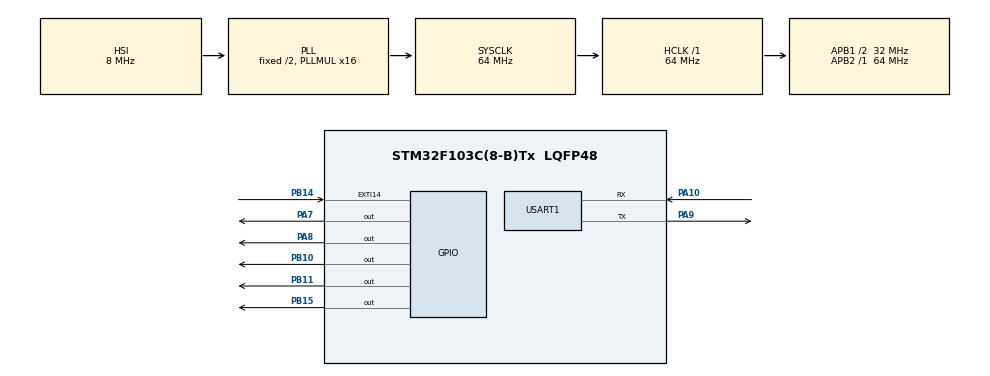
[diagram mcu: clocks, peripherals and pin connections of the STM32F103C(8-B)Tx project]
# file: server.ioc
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Dma.Request0=USART1_RX
Dma.USART1_RX.0.Direction=DMA_PERIPH_TO_MEMORY
Dma.USART1_RX.0.Instance=DMA1_Channel5
Dma.USART1_RX.0.MemDataAlignment=DMA_MDATAALIGN_BYTE
Dma.USART1_RX.0.MemInc=DMA_MINC_ENABLE
Dma.USART1_RX.0.Mode=DMA_NORMAL
Dma.USART1_RX.0.PeriphDataAlignment=DMA_PDATAALIGN_BYTE
Dma.USART1_RX.0.PeriphInc=DMA_PINC_DISABLE
Dma.USART1_RX.0.Priority=DMA_PRIORITY_LOW
Mcu.Family=STM32F1
Mcu.Name=STM32F103C(8-B)Tx
Mcu.Package=LQFP48
NVIC.DMA1_Channel5_IRQn=true\:0\:0\:false\:false\:true\:false
NVIC.EXTI15_10_IRQn=true\:0\:0\:false\:false\:true\:true
NVIC.PriorityGroup=NVIC_PRIORITYGROUP_4
NVIC.USART1_IRQn=true\:0\:0\:false\:false\:true\:true
PA10.Mode=Asynchronous
PA10.Signal=USART1_RX
PA13.Mode=Serial_Wire
PA13.Signal=SYS_JTMS-SWDIO
PA14.Mode=Serial_Wire
PA14.Signal=SYS_JTCK-SWCLK
PA7.GPIO_PuPd=GPIO_PULLUP
PA7.Signal=GPIO_Output
PA8.Signal=GPIO_Output
PA9.Mode=Asynchronous
PA9.Signal=USART1_TX
PB10.Signal=GPIO_Output
PB11.Signal=GPIO_Output
PB14.GPIO_ModeDefaultEXTI=GPIO_MODE_IT_RISING_FALLING
PB14.GPIO_PuPd=GPIO_PULLUP
PB14.Signal=GPXTI14
PB15.Signal=GPIO_Output
ProjectManager.HeapSize=0x1000
ProjectManager.StackSize=0x400
ProjectManager.TargetToolchain=EWARM V7
RCC.AHBFreq_Value=64000000
RCC.APB1CLKDivider=RCC_HCLK_DIV2
RCC.APB1Freq_Value=32000000
RCC.APB1TimFreq_Value=64000000
RCC.APB2Freq_Value=64000000
RCC.APB2TimFreq_Value=64000000
RCC.HCLKFreq_Value=64000000
RCC.PLLMUL=RCC_PLL_MUL16
RCC.SYSCLKFreq_VALUE=64000000
RCC.SYSCLKSource=RCC_SYSCLKSOURCE_PLLCLK
RCC.USBFreq_Value=64000000
USART1.VirtualMode=VM_ASYNC
board=custom

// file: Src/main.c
/**
  ******************************************************************************
  * @file           : main.c
  * @brief          : Main program body
  ******************************************************************************
  ** This notice applies to any and all portions of this file
  * that are not between comment pairs USER CODE BEGIN and
  * USER CODE END. Other portions of this file, whether
  * inserted by the user or by software development tools
  * are owned by their respective copyright owners.
  *
  * COPYRIGHT(c) 2018 STMicroelectronics
  *
  * Redistribution and use in source and binary forms, with or without modification,
  * are permitted provided that the following conditions are met:
  *   1. Redistributions of source code must retain the above copyright notice,
  *      this list of conditions and the following disclaimer.
  *   2. Redistributions in binary form must reproduce the above copyright notice,
  *      this list of conditions and the following disclaimer in the documentation
  *      and/or other materials provided with the distribution.
  *   3. Neither the name of STMicroelectronics nor the names of its contributors
  *      may be used to endorse or promote products derived from this software
  *      without specific prior written permission.
  *
  * THIS SOFTWARE IS PROVIDED BY THE COPYRIGHT HOLDERS AND CONTRIBUTORS "AS IS"
  * AND ANY EXPRESS OR IMPLIED WARRANTIES, INCLUDING, BUT NOT LIMITED TO, THE
  * IMPLIED WARRANTIES OF MERCHANTABILITY AND FITNESS FOR A PARTICULAR PURPOSE ARE
  * DISCLAIMED. IN NO EVENT SHALL THE COPYRIGHT HOLDER OR CONTRIBUTORS BE LIABLE
  * FOR ANY DIRECT, INDIRECT, INCIDENTAL, SPECIAL, EXEMPLARY, OR CONSEQUENTIAL
  * DAMAGES (INCLUDING, BUT NOT LIMITED TO, PROCUREMENT OF SUBSTITUTE GOODS OR
  * SERVICES; LOSS OF USE, DATA, OR PROFITS; OR BUSINESS INTERRUPTION) HOWEVER
  * CAUSED AND ON ANY THEORY OF LIABILITY, WHETHER IN CONTRACT, STRICT LIABILITY,
  * OR TORT (INCLUDING NEGLIGENCE OR OTHERWISE) ARISING IN ANY WAY OUT OF THE USE
  * OF THIS SOFTWARE, EVEN IF ADVISED OF THE POSSIBILITY OF SUCH DAMAGE.
  *
  ******************************************************************************
  */
#include "main.h"
#include "stm32f1xx_hal.h"

/* USER CODE BEGIN Includes */
#include "rsa_16.h"
#include "lora.h"
#include "string.h"
#include "stdlib.h"
#include "flash.h"
/* USER CODE END Includes */

UART_HandleTypeDef huart1;
DMA_HandleTypeDef hdma_usart1_rx;

/* USER CODE BEGIN PV */
/* Private variables ---------------------------------------------------------*/

/* USER CODE END PV */

void SystemClock_Config(void);
static void MX_GPIO_Init(void);
static void MX_DMA_Init(void);
static void MX_USART1_UART_Init(void);

/* USER CODE BEGIN PFP */
/* Private function prototypes -----------------------------------------------*/

/* USER CODE END PFP */

int main(void)
{
  /* USER CODE BEGIN 1 */
  uint16_t id;
  /* USER CODE END 1 */

  /* MCU Configuration----------------------------------------------------------*/

  /* Reset of all peripherals, Initializes the Flash interface and the Systick. */
  HAL_Init();

  /* Configure the system clock */
  SystemClock_Config();

  /* Initialize all configured peripherals */
  MX_GPIO_Init();
  MX_DMA_Init();
  MX_USART1_UART_Init();
  /* USER CODE BEGIN 2 */

  LoraModuleGPIOInit(&huart1);

  id = FLASH_Init();
  if ( id == 0 ) {
//    printf("ERROR:read flash id\r\n");
    return -1;
  }

  LoraPar lp;
  lp.u16Addr = id;
  lp.u8Baud = BAUD_115200;
  lp.u8Channel = CHAN_438MHZ;
  lp.u8FEC = FEC_ENABLE;
  lp.u8IOMode = IOMODE_PP;
  lp.u8Parity = PARITY_8O1;
  lp.u8SendDB = SEND_20DB;
  lp.u8Speedinair = SPEED_IN_AIR_19_2K;
  lp.u8TranferMode = TRANSFER_MODE_DINGDIAN;
  lp.u8WakeUpTime = WAKEUP_TIME_500MS;
  SetLoraParamter(&huart1, &lp);
  ReadLoraParamter(&huart1);

  LoraModuleDMAInit(&huart1);

  /* USER CODE END 2 */

  /* Infinite loop */
  while (1)
  {

  /* USER CODE BEGIN 3 */

//    HAL_Delay(1000);
//    srand(HAL_GetTick());
//    num = rand();
//    printf("%08x\r\n", num);
    LoraModuleTask();
  }
  /* USER CODE END 3 */

}

void SystemClock_Config(void)
{

  RCC_OscInitTypeDef RCC_OscInitStruct;
  RCC_ClkInitTypeDef RCC_ClkInitStruct;

    /**Initializes the CPU, AHB and APB busses clocks
    */
  RCC_OscInitStruct.OscillatorType = RCC_OSCILLATORTYPE_HSI;
  RCC_OscInitStruct.HSIState = RCC_HSI_ON;
  RCC_OscInitStruct.HSICalibrationValue = 16;
  RCC_OscInitStruct.PLL.PLLState = RCC_PLL_ON;
  RCC_OscInitStruct.PLL.PLLSource = RCC_PLLSOURCE_HSI_DIV2;
  RCC_OscInitStruct.PLL.PLLMUL = RCC_PLL_MUL16;
  if (HAL_RCC_OscConfig(&RCC_OscInitStruct) != HAL_OK)
  {
    _Error_Handler(__FILE__, __LINE__);
  }

    /**Initializes the CPU, AHB and APB busses clocks
    */
  RCC_ClkInitStruct.ClockType = RCC_CLOCKTYPE_HCLK|RCC_CLOCKTYPE_SYSCLK
                              |RCC_CLOCKTYPE_PCLK1|RCC_CLOCKTYPE_PCLK2;
  RCC_ClkInitStruct.SYSCLKSource = RCC_SYSCLKSOURCE_PLLCLK;
  RCC_ClkInitStruct.AHBCLKDivider = RCC_SYSCLK_DIV1;
  RCC_ClkInitStruct.APB1CLKDivider = RCC_HCLK_DIV2;
  RCC_ClkInitStruct.APB2CLKDivider = RCC_HCLK_DIV1;

  if (HAL_RCC_ClockConfig(&RCC_ClkInitStruct, FLASH_LATENCY_2) != HAL_OK)
  {
    _Error_Handler(__FILE__, __LINE__);
  }

    /**Configure the Systick interrupt time
    */
  HAL_SYSTICK_Config(HAL_RCC_GetHCLKFreq()/1000);

    /**Configure the Systick
    */
  HAL_SYSTICK_CLKSourceConfig(SYSTICK_CLKSOURCE_HCLK);

  /* SysTick_IRQn interrupt configuration */
  HAL_NVIC_SetPriority(SysTick_IRQn, 0, 0);
}

/* USART1 init function */
static void MX_USART1_UART_Init(void)
{

  huart1.Instance = USART1;
  huart1.Init.BaudRate = 115200;
  huart1.Init.WordLength = UART_WORDLENGTH_8B;
  huart1.Init.StopBits = UART_STOPBITS_1;
  huart1.Init.Parity = UART_PARITY_NONE;
  huart1.Init.Mode = UART_MODE_TX_RX;
  huart1.Init.HwFlowCtl = UART_HWCONTROL_NONE;
  huart1.Init.OverSampling = UART_OVERSAMPLING_16;
  if (HAL_UART_Init(&huart1) != HAL_OK)
  {
    _Error_Handler(__FILE__, __LINE__);
  }

}

static void MX_DMA_Init(void)
{
  /* DMA controller clock enable */
  __HAL_RCC_DMA1_CLK_ENABLE();

  /* DMA interrupt init */
  /* DMA1_Channel5_IRQn interrupt configuration */
  HAL_NVIC_SetPriority(DMA1_Channel5_IRQn, 0, 0);
  HAL_NVIC_EnableIRQ(DMA1_Channel5_IRQn);

}

/** Configure pins as
        * Analog
        * Input
        * Output
        * EVENT_OUT
        * EXTI
*/
static void MX_GPIO_Init(void)
{

  GPIO_InitTypeDef GPIO_InitStruct;

  /* GPIO Ports Clock Enable */
  __HAL_RCC_GPIOA_CLK_ENABLE();
  __HAL_RCC_GPIOB_CLK_ENABLE();

  /*Configure GPIO pin Output Level */
  HAL_GPIO_WritePin(GPIOA, GPIO_PIN_7|GPIO_PIN_8, GPIO_PIN_RESET);

  /*Configure GPIO pin Output Level */
  HAL_GPIO_WritePin(GPIOB, GPIO_PIN_10|GPIO_PIN_11|GPIO_PIN_15, GPIO_PIN_RESET);

  /*Configure GPIO pin : PA7 */
  GPIO_InitStruct.Pin = GPIO_PIN_7;
  GPIO_InitStruct.Mode = GPIO_MODE_OUTPUT_PP;
  GPIO_InitStruct.Pull = GPIO_PULLUP;
  GPIO_InitStruct.Speed = GPIO_SPEED_FREQ_LOW;
  HAL_GPIO_Init(GPIOA, &GPIO_InitStruct);

  /*Configure GPIO pins : PB10 PB11 PB15 */
  GPIO_InitStruct.Pin = GPIO_PIN_10|GPIO_PIN_11|GPIO_PIN_15;
  GPIO_InitStruct.Mode = GPIO_MODE_OUTPUT_PP;
  GPIO_InitStruct.Pull = GPIO_NOPULL;
  GPIO_InitStruct.Speed = GPIO_SPEED_FREQ_LOW;
  HAL_GPIO_Init(GPIOB, &GPIO_InitStruct);

  /*Configure GPIO pin : PB14 */
  GPIO_InitStruct.Pin = GPIO_PIN_14;
  GPIO_InitStruct.Mode = GPIO_MODE_IT_RISING_FALLING;
  GPIO_InitStruct.Pull = GPIO_PULLUP;
  HAL_GPIO_Init(GPIOB, &GPIO_InitStruct);

  /*Configure GPIO pin : PA8 */
  GPIO_InitStruct.Pin = GPIO_PIN_8;
  GPIO_InitStruct.Mode = GPIO_MODE_OUTPUT_PP;
  GPIO_InitStruct.Pull = GPIO_NOPULL;
  GPIO_InitStruct.Speed = GPIO_SPEED_FREQ_LOW;
  HAL_GPIO_Init(GPIOA, &GPIO_InitStruct);

  /* EXTI interrupt init*/
  HAL_NVIC_SetPriority(EXTI15_10_IRQn, 0, 0);
  HAL_NVIC_EnableIRQ(EXTI15_10_IRQn);

}

void _Error_Handler(char *file, int line)
{
  while(1)
  {
  }
}

/************************ (C) COPYRIGHT STMicroelectronics *****END OF FILE****/
